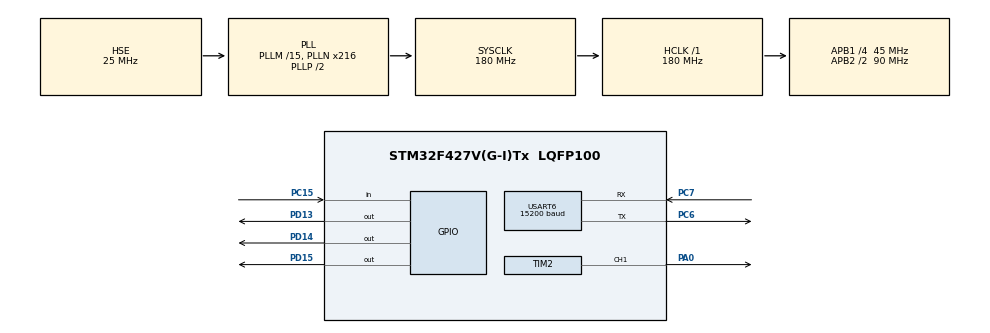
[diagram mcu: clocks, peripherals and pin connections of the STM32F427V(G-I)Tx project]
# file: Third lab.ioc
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Mcu.Family=STM32F4
Mcu.Name=STM32F427V(G-I)Tx
Mcu.Package=LQFP100
NVIC.PriorityGroup=NVIC_PRIORITYGROUP_4
NVIC.TIM6_DAC_IRQn=true\:0\:0\:false\:false\:true\:true\:true\:true
NVIC.USART6_IRQn=true\:0\:0\:false\:false\:true\:true\:true\:true
PA13.Mode=Serial_Wire
PA13.Signal=SYS_JTMS-SWDIO
PA14.Mode=Serial_Wire
PA14.Signal=SYS_JTCK-SWCLK
PC15/OSC32_OUT.Mode=GPIO_Input
PC15/OSC32_OUT.Signal=GPIO_Input
PC6.GPIO_Mode=GPIO_MODE_AF_PP
PC6.GPIO_Pull=GPIO_NOPULL
PC6.Mode=Asynchronous
PC6.Signal=USART6_TX
PC7.GPIO_Mode=GPIO_MODE_AF_PP
PC7.GPIO_Pull=GPIO_PULLUP
PC7.Mode=Asynchronous
PC7.Signal=USART6_RX
PD13.GPIO_Mode=GPIO_MODE_OUTPUT_PP
PD13.GPIO_Pull=GPIO_NOPULL
PD13.GPIO_Speed=GPIO_SPEED_FREQ_LOW
PD13.Signal=GPIO_Output
PD14.GPIO_Mode=GPIO_MODE_OUTPUT_PP
PD14.GPIO_Pull=GPIO_NOPULL
PD14.GPIO_Speed=GPIO_SPEED_FREQ_LOW
PD14.Signal=GPIO_Output
PD15.GPIO_Mode=GPIO_MODE_OUTPUT_PP
PD15.GPIO_Pull=GPIO_NOPULL
PD15.GPIO_Speed=GPIO_SPEED_FREQ_LOW
PD15.Signal=GPIO_Output
PA0-WKUP.GPIO_Mode=GPIO_MODE_AF_PP
PA0-WKUP.GPIO_Pull=GPIO_NOPULL
PA0-WKUP.GPIO_Speed=GPIO_SPEED_FREQ_LOW
PA0-WKUP.Mode=PWM Generation CH1
PA0-WKUP.Signal=TIM2_CH1
PH0/OSC_IN.Mode=HSE-External-Oscillator
PH0/OSC_IN.Signal=RCC_OSC_IN
PH1/OSC_OUT.Mode=HSE-External-Oscillator
PH1/OSC_OUT.Signal=RCC_OSC_OUT
ProjectManager.HeapSize=0x200
ProjectManager.StackSize=0x400
ProjectManager.TargetToolchain=STM32CubeIDE
RCC.48MHZClocksFreq_Value=90000000
RCC.AHBFreq_Value=180000000
RCC.APB1CLKDivider=RCC_HCLK_DIV4
RCC.APB1Freq_Value=45000000
RCC.APB1TimFreq_Value=90000000
RCC.APB2CLKDivider=RCC_HCLK_DIV2
RCC.APB2Freq_Value=90000000
RCC.APB2TimFreq_Value=180000000
RCC.CortexFreq_Value=180000000
RCC.HCLKFreq_Value=180000000
RCC.HSE_VALUE=25000000
RCC.HSI_VALUE=16000000
RCC.LSE_VALUE=32768
RCC.PLLM=15
RCC.PLLN=216
RCC.PLLSourceVirtual=RCC_PLLSOURCE_HSE
RCC.SYSCLKFreq_VALUE=180000000
RCC.SYSCLKSource=RCC_SYSCLKSOURCE_PLLCLK
RCC.VCOOutputFreq_Value=360000000
SH.S_TIM2_CH1.0=TIM2_CH1,PWM Generation CH1
# PWM на PA0 (TIM2_CH1)
TIM2.AutoReloadPreload=TIM_AUTORELOAD_PRELOAD_ENABLE
TIM2.Channel-PWM\ Generation\ CH1=TIM_CHANNEL_1
TIM2.ClockDivision=TIM_CLOCKDIVISION_DIV1
TIM2.CounterMode=TIM_COUNTERMODE_UP
TIM2.OCFastMode=TIM_OCFAST_DISABLE
TIM2.OCPolarity=TIM_OCPOLARITY_HIGH
TIM2.Period=999
TIM2.Prescaler=44
TIM2.Pulse-PWM\ Generation\ CH1=0
TIM6.AutoReloadPreload=TIM_AUTORELOAD_PRELOAD_ENABLE
TIM6.ClockDivision=TIM_CLOCKDIVISION_DIV1
TIM6.CounterMode=TIM_COUNTERMODE_UP
TIM6.Period=999
TIM6.Prescaler=89
USART6.BaudRate=15200
USART6.HardwareFlowControl=USART_HARDWAREFLOWCONTROL_NONE
USART6.Mode=USART_MODE_TX_RX
USART6.OverSampling=USART_OVERSAMPLING_16
USART6.Parity=USART_PARITY_NONE
USART6.StopBits=USART_STOPBITS_1
USART6.WordLength=USART_WORDLENGTH_8B
VP_TIM2_VS_ClockSourceINT.Mode=Internal
VP_TIM6_VS_ClockSourceINT.Mode=Enable_Timer
board=custom

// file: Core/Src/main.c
/* USER CODE BEGIN Header */
/**
  ******************************************************************************
  * @file           : main.c
  * @brief          : Main program body
  ******************************************************************************
  * @attention
  *
  * Copyright (c) 2022 STMicroelectronics.
  * All rights reserved.
  *
  * This software is licensed under terms that can be found in the LICENSE file
  * in the root directory of this software component.
  * If no LICENSE file comes with this software, it is provided AS-IS.
  *
  ******************************************************************************
  */
/* USER CODE END Header */

#include "main.h"
#include "tim.h"
#include "usart.h"
#include "gpio.h"

/* USER CODE BEGIN Includes */
#include <stdio.h>
#include <string.h>
#include <ctype.h>
#include <stdbool.h>
/* USER CODE END Includes */

/* USER CODE BEGIN PTD */
struct RingBuffer {
    char data[256];
    uint16_t head;
    uint16_t tail;
    uint16_t count;
};

typedef struct RingBuffer RingBuffer;
/* USER CODE END PTD */

/* USER CODE BEGIN PD */
#define BUF_SIZE 256

// Ноты (частота в Гц)
#define C4  262
#define D4  294
#define E4  330
#define F4  349
#define G4  392
#define A4  440
#define B4  494
#define C5  523
#define D5  587
#define E5  659
#define F5  698
#define G5  784
#define A5  880
/* USER CODE END PD */

/* USER CODE BEGIN PV */
// Буферы для мелодий
uint32_t custom_track_data[256];
uint32_t custom_track_timing[256];
uint32_t custom_track_length = 0;

// Переменные для воспроизведения
uint32_t current_duration = 0;
bool is_track_playing = false;
uint32_t track_position = 0;
uint32_t *current_track_notes;
uint32_t *current_track_durations;
uint32_t track_notes_count;

// Предопределенные мелодии
uint32_t stairway_melody[] = {
    A4, C5, E5, A5, G5, E5, C5, G5,
    C5, E5, C4, C5, F5, D5, A4, F5
};

uint32_t stairway_delays[] = {
    500, 500, 500, 500, 500, 500, 500, 500,
    500, 500, 500, 500, 500, 500, 500, 500
};

uint32_t ssshhhiiittt_melody[] = {
    E5, D5, C5, D5, C5, 0, B4, 0, C5, 0, B4, C5, D5, 0, B4,
    E5, D5, C5, D5, C5, 0, B4, 0, C5, 0, B4, C5, D5, 0, A4
};

uint32_t ssshhhiiittt_delays[] = {
    400, 400, 400, 400, 400, 70, 400, 70, 400, 70, 400, 300, 400, 100, 400,
    400, 400, 400, 400, 400, 70, 400, 70, 400, 70, 400, 400, 400, 100, 400
};

uint32_t duvet_melody[] = {
    D5, C5, B4, C5, D5, 0, E5, F5, B4, 0,
    D5, C5, B4, C5, D5, 0, E5, 0, F5, E5, 0, F5, E5, 0, E5, D5, C5
};

uint32_t duvet_delays[] = {
    450, 450, 450, 450, 450, 50, 450, 450, 750, 50,
    450, 450, 450, 450, 450, 50, 450, 100, 450, 450, 50, 450, 450, 100, 750, 450, 750
};

uint32_t radiohead_melody[] = {
    F5, A4, D5, A4, F5, A4, D5, A4,
    F5, A4, D5, A4, G4, A4, D5, E5,
    F5, A4, D5, A4, F5, A4, D5, A4,
    F5, A4, D5, A4, G4, A4, D5, E5
};

uint32_t radiohead_delays[] = {
    450, 450, 450, 450, 450, 450, 450, 450,
    450, 450, 450, 450, 450, 450, 450, 450,
    450, 450, 450, 450, 450, 450, 450, 450,
    450, 450, 450, 450, 450, 450, 450, 450
};

// Системные переменные
static RingBuffer rx_buffer;
static uint8_t uart_rx_char;
static bool uart_tx_busy = false;

// Флаги для отладки
static bool system_initialized = false;
static bool uart_ready = false;

/* USER CODE END PV */

void SystemClock_Config(void);
/* USER CODE BEGIN PFP */
// Функции для кольцевого буфера
static void buf_init(RingBuffer *buf);
static bool buf_push(RingBuffer *buf, char c);
static bool buf_pop(RingBuffer *buf, char *c);

// Функции UART
void send_uart(const char *buffer, size_t length);
void send_uart_line(const char *buffer);
void activate_interrupts(void);

// Функции воспроизведения
void start_track_playback(uint32_t *notes_array, uint32_t *timings_array, uint32_t array_length);
uint32_t calculate_arr_for_freq(uint32_t freq_hz);

// Отладочные функции
void debug_led_blink(uint8_t times, uint32_t delay_ms);
void debug_send_status(void);
void test_sound(uint32_t freq_hz, uint32_t duration_ms);
void check_tim_config(void);

// Тестовые функции
void simple_sound_test(void);
/* USER CODE END PFP */

/* USER CODE BEGIN 0 */

// Мигание светодиодом для отладки
void debug_led_blink(uint8_t times, uint32_t delay_ms) {
    for (uint8_t i = 0; i < times; i++) {
        HAL_GPIO_TogglePin(GPIOD, GPIO_PIN_13);
        HAL_Delay(delay_ms);
        HAL_GPIO_TogglePin(GPIOD, GPIO_PIN_13);
        if (i < times - 1) HAL_Delay(delay_ms);
    }
}

// Простой тест звука
void simple_sound_test(void) {
    send_uart_line("=== ПРОСТОЙ ТЕСТ ЗВУКА ===");

    // Тест 1: постоянный сигнал
    send_uart_line("Тест 1: Постоянный сигнал 440 Гц");
    uint32_t arr = calculate_arr_for_freq(440);
    __HAL_TIM_SET_AUTORELOAD(&htim2, arr);
    __HAL_TIM_SET_COMPARE(&htim2, TIM_CHANNEL_1, arr / 2);
    HAL_Delay(1000);
    __HAL_TIM_SET_COMPARE(&htim2, TIM_CHANNEL_1, 0);
    HAL_Delay(200);

    // Тест 2: короткие сигналы
    send_uart_line("Тест 2: Короткие сигналы");
    for (int i = 0; i < 5; i++) {
        arr = calculate_arr_for_freq(440 + i * 100);
        __HAL_TIM_SET_AUTORELOAD(&htim2, arr);
        __HAL_TIM_SET_COMPARE(&htim2, TIM_CHANNEL_1, arr / 2);
        HAL_Delay(100);
        __HAL_TIM_SET_COMPARE(&htim2, TIM_CHANNEL_1, 0);
        HAL_Delay(100);
    }

    // Тест 3: сирена
    send_uart_line("Тест 3: Сирена");
    for (int i = 0; i < 20; i++) {
        arr = calculate_arr_for_freq(300 + i * 20);
        __HAL_TIM_SET_AUTORELOAD(&htim2, arr);
        __HAL_TIM_SET_COMPARE(&htim2, TIM_CHANNEL_1, arr / 2);
        HAL_Delay(50);
    }
    __HAL_TIM_SET_COMPARE(&htim2, TIM_CHANNEL_1, 0);

    send_uart_line("Тест завершен");
}

// Тест одной ноты
void test_sound(uint32_t freq_hz, uint32_t duration_ms) {
    char msg[64];
    snprintf(msg, sizeof(msg), "Тест: %lu Гц, %lu мс", freq_hz, duration_ms);
    send_uart_line(msg);

    uint32_t arr = calculate_arr_for_freq(freq_hz);
    snprintf(msg, sizeof(msg), "ARR: %lu, Prescaler: %lu", arr, htim2.Init.Prescaler);
    send_uart_line(msg);

    if (arr > 0 && arr <= 65535) {
        __HAL_TIM_SET_AUTORELOAD(&htim2, arr);
        __HAL_TIM_SET_COMPARE(&htim2, TIM_CHANNEL_1, arr / 2);
        HAL_Delay(duration_ms);
        __HAL_TIM_SET_COMPARE(&htim2, TIM_CHANNEL_1, 0);
    } else {
        send_uart_line("Ошибка: неверный ARR");
    }
    HAL_Delay(100);
}

// Проверка конфигурации таймеров
void check_tim_config(void) {
    uint32_t tim2_clock = SystemCoreClock / (htim2.Init.Prescaler + 1);
    uint32_t tim6_clock = SystemCoreClock / (htim6.Init.Prescaler + 1);

    char status[256];
    snprintf(status, sizeof(status),
        "\r\n=== КОНФИГУРАЦИЯ ТАЙМЕРОВ ===\r\n"
        "TIM2 (PWM/Звук):\r\n"
        "  Prescaler: %lu\r\n"
        "  Period (ARR): %lu\r\n"
        "  Тактовая частота: %lu Гц\r\n"
        "  Частота PWM: %lu Гц\r\n"
        "TIM6 (Таймер нот):\r\n"
        "  Prescaler: %lu\r\n"
        "  Period: %lu\r\n"
        "  Тактовая частота: %lu Гц\r\n"
        "  Частота прерываний: %lu Гц\r\n",
        htim2.Init.Prescaler,
        htim2.Init.Period,
        tim2_clock,
        tim2_clock / (htim2.Init.Period + 1),
        htim6.Init.Prescaler,
        htim6.Init.Period,
        tim6_clock,
        tim6_clock / (htim6.Init.Period + 1));
    send_uart_line(status);
}

// Отправка статуса системы
void debug_send_status(void) {
    char status_msg[256];
    snprintf(status_msg, sizeof(status_msg),
             "\r\n=== СТАТУС СИСТЕМЫ ===\r\n"
             "System Clock: %lu Hz\r\n"
             "UART BaudRate: %lu\r\n"
             "TIM2 Prescaler: %lu\r\n"
             "TIM2 ARR: %lu\r\n"
             "TIM6 Prescaler: %lu\r\n"
             "TIM6 ARR: %lu\r\n"
             "Трек играет: %s\r\n"
             "Позиция: %lu/%lu\r\n"
             "PD13 (Status LED): %s\r\n",
             SystemCoreClock,
             huart6.Init.BaudRate,
             htim2.Init.Prescaler,
             __HAL_TIM_GET_AUTORELOAD(&htim2),
             htim6.Init.Prescaler,
             __HAL_TIM_GET_AUTORELOAD(&htim6),
             is_track_playing ? "ДА" : "НЕТ",
             track_position,
             track_notes_count,
             HAL_GPIO_ReadPin(GPIOD, GPIO_PIN_13) ? "ON" : "OFF");

    send_uart_line(status_msg);
}

// Инициализация кольцевого буфера
static void buf_init(RingBuffer *buf) {
    buf->head = 0;
    buf->tail = 0;
    buf->count = 0;
    memset(buf->data, 0, sizeof(buf->data));
}

// Добавление символа в буфер
static bool buf_push(RingBuffer *buf, char c) {
    if (buf->count >= BUF_SIZE) {
        return false;
    }
    buf->data[buf->head] = c;
    buf->head = (buf->head + 1) % BUF_SIZE;
    buf->count++;
    return true;
}

// Извлечение символа из буфера
static bool buf_pop(RingBuffer *buf, char *c) {
    if (buf->count == 0) {
        return false;
    }
    *c = buf->data[buf->tail];
    buf->tail = (buf->tail + 1) % BUF_SIZE;
    buf->count--;
    return true;
}

// Отправка данных через UART (с проверкой состояния)
void send_uart(const char *buffer, size_t length) {
    if (!uart_ready || length == 0) {
        return;
    }

    HAL_StatusTypeDef status = HAL_UART_Transmit(&huart6, (uint8_t*)buffer, length, 1000);
    if (status != HAL_OK) {
        HAL_GPIO_WritePin(GPIOD, GPIO_PIN_14, GPIO_PIN_SET);
        HAL_Delay(100);
        HAL_GPIO_WritePin(GPIOD, GPIO_PIN_14, GPIO_PIN_RESET);
    }
}

// Отправка строки с переводом строки
void send_uart_line(const char *buffer) {
    send_uart(buffer, strlen(buffer));
    send_uart("\r\n", 2);
}

// Активация прерываний UART
void activate_interrupts(void) {
    HAL_UART_Receive_IT(&huart6, (uint8_t*)&uart_rx_char, 1);
    uart_ready = true;
}

// Расчет значения ARR для заданной частоты
// Формула: ARR = (SystemCoreClock) / (freq_hz * (Prescaler + 1)) - 1
uint32_t calculate_arr_for_freq(uint32_t freq_hz) {
    if (freq_hz == 0 || freq_hz > 10000) {
        return 0;
    }

    // ТОЧНО как в рабочем коде:
    // SystemCoreClock = 180,000,000 Гц
    // Prescaler = 89 → тактовая частота = 180МГц / (89+1) = 2 МГц
    // ARR = 2,000,000 / freq_hz - 1
    uint32_t arr = 2000000 / freq_hz;
    if (arr > 0) arr--;

    if (arr < 2) arr = 2;
    if (arr > 65535) arr = 65535;

    return arr;
}

// Начало воспроизведения трека
void start_track_playback(uint32_t *notes_array, uint32_t *timings_array, uint32_t array_length) {
    track_position = 0;
    current_track_notes = notes_array;
    current_track_durations = timings_array;
    track_notes_count = array_length;
    is_track_playing = true;
    current_duration = 0;  // Начнем сразу с первой ноты
    send_uart_line("Воспроизведение начато");
}

// Обработчик прерывания UART (прием)
void HAL_UART_RxCpltCallback(UART_HandleTypeDef *huart_instance) {
    if (huart_instance->Instance == USART6) {
        // Индикация получения данных
        HAL_GPIO_TogglePin(GPIOD, GPIO_PIN_15);

        // Сохраняем символ в буфер
        buf_push(&rx_buffer, (char)uart_rx_char);

        // Для отладки: эхо-ответ
        if (!uart_tx_busy) {
            uart_tx_busy = true;
            HAL_UART_Transmit_IT(&huart6, &uart_rx_char, 1);
        }

        // Возобновляем прием
        HAL_UART_Receive_IT(&huart6, (uint8_t*)&uart_rx_char, 1);
    }
}

// Обработчик прерывания UART (передача завершена)
void HAL_UART_TxCpltCallback(UART_HandleTypeDef *huart_instance) {
    if (huart_instance->Instance == USART6) {
        uart_tx_busy = false;
    }
}

// Обработчик прерывания таймера TIM6
void HAL_TIM_PeriodElapsedCallback(TIM_HandleTypeDef *htim) {
    if (htim->Instance == TIM6) {
        if (!is_track_playing) return;

        if (current_duration > 0) {
            current_duration--;
            return;
        }

        if (track_position >= track_notes_count) {
            is_track_playing = false;
            __HAL_TIM_SET_COMPARE(&htim2, TIM_CHANNEL_1, 0);
            return;
        }

        uint32_t note_freq = current_track_notes[track_position];
        uint32_t note_duration = current_track_durations[track_position];

        current_duration = note_duration;

        if (note_freq == 0) {
            __HAL_TIM_SET_COMPARE(&htim2, TIM_CHANNEL_1, 0);
        } else {
            // ПРОСТОЙ РАСЧЕТ КАК В РАБОЧЕМ КОДЕ
            uint32_t arr_value = 2000000 / note_freq - 1;
            if (arr_value > 100 && arr_value < 65535) {
                __HAL_TIM_SET_AUTORELOAD(&htim2, arr_value);
                __HAL_TIM_SET_COMPARE(&htim2, TIM_CHANNEL_1, arr_value / 2);
            } else {
                __HAL_TIM_SET_COMPARE(&htim2, TIM_CHANNEL_1, 0);
            }
        }

        track_position++;
    }
}

/* USER CODE END 0 */

int main(void)
{

  /* MCU Configuration--------------------------------------------------------*/

  /* Reset of all peripherals, Initializes the Flash interface and the Systick. */
  HAL_Init();

  /* Configure the system clock */
  SystemClock_Config();

  /* Initialize all configured peripherals */
  MX_GPIO_Init();
  MX_USART6_UART_Init();
  MX_TIM2_Init();
  MX_TIM6_Init();

  /* USER CODE BEGIN 2 */
  // 1. Простая инициализация
  buf_init(&rx_buffer);
  is_track_playing = false;
  custom_track_length = 0;

  // 2. Светодиоды
  HAL_GPIO_WritePin(GPIOD, GPIO_PIN_13, GPIO_PIN_SET);
  HAL_GPIO_WritePin(GPIOD, GPIO_PIN_14, GPIO_PIN_SET);
  HAL_GPIO_WritePin(GPIOD, GPIO_PIN_15, GPIO_PIN_RESET);
  HAL_Delay(500);
  HAL_GPIO_WritePin(GPIOD, GPIO_PIN_14, GPIO_PIN_RESET);

  // 3. Запуск таймеров КАК В РАБОЧЕМ КОДЕ
  HAL_TIM_PWM_Start(&htim2, TIM_CHANNEL_1);
  HAL_TIM_Base_Start_IT(&htim6);

  // 4. Установите начальное значение PWM в 0
  __HAL_TIM_SET_COMPARE(&htim2, TIM_CHANNEL_1, 0);

  // 5. Активация UART
  HAL_UART_Receive_IT(&huart6, (uint8_t*)&uart_rx_char, 1);
  uart_ready = true;

  // 6. Приветственное сообщение
  HAL_UART_Transmit(&huart6, (uint8_t*)"\r\nМузыкальная шкатулка\r\n", 25, 100);

  // 7. Тестовый звук - КОРОТКИЙ и ПРОСТОЙ
  uint32_t test_arr = (2000000 / 440) - 1;  // 440 Гц
  __HAL_TIM_SET_AUTORELOAD(&htim2, test_arr);
  __HAL_TIM_SET_COMPARE(&htim2, TIM_CHANNEL_1, test_arr / 2);
  HAL_Delay(200);
  __HAL_TIM_SET_COMPARE(&htim2, TIM_CHANNEL_1, 0);

  // 8. Вывод меню
  send_uart_line("Команды: 1-4 мелодии, ? меню");
  /* USER CODE END 2 */

  /* Infinite loop */
  /* USER CODE BEGIN WHILE */
  uint32_t loop_counter = 0;

  while (1)
  {
    loop_counter++;

    // Мигаем основным светодиодом (система работает)
    if (loop_counter % 100 == 0) {
      HAL_GPIO_TogglePin(GPIOD, GPIO_PIN_13);
    }

    // Обрабатываем команды из UART
    char received_char;
    if (buf_pop(&rx_buffer, &received_char)) {

      // Преобразуем в нижний регистр для удобства
      if (received_char >= 'A' && received_char <= 'Z') {
        received_char = received_char + ('a' - 'A');
      }

      // Отладка: что получили
      char debug_rx[32];
      snprintf(debug_rx, sizeof(debug_rx),
               "[CMD] Получено: '%c' (0x%02X)",
               (received_char >= 32 && received_char <= 126) ? received_char : '.',
               received_char);
      send_uart_line(debug_rx);

      // Обрабатываем команду
      switch (received_char) {
        case '1':
          send_uart_line("Воспроизведение: Stairway to Heaven");
          start_track_playback(stairway_melody, stairway_delays,
                             sizeof(stairway_melody) / sizeof(uint32_t));
          break;

        case '2':
          send_uart_line("Воспроизведение: Be Quiet and Drive");
          start_track_playback(ssshhhiiittt_melody, ssshhhiiittt_delays,
                             sizeof(ssshhhiiittt_melody) / sizeof(uint32_t));
          break;

        case '3':
          send_uart_line("Воспроизведение: Duvet");
          start_track_playback(duvet_melody, duvet_delays,
                             sizeof(duvet_melody) / sizeof(uint32_t));
          break;

        case '4':
          send_uart_line("Воспроизведение: No Surprises");
          start_track_playback(radiohead_melody, radiohead_delays,
                             sizeof(radiohead_melody) / sizeof(uint32_t));
          break;

        case '5':
          if (custom_track_length > 0) {
            send_uart_line("Воспроизведение пользовательской мелодии");
            start_track_playback(custom_track_data, custom_track_timing, custom_track_length);
          } else {
            send_uart_line("Пользовательская мелодия не создана!");
            send_uart_line("Используйте команду 'e' для создания мелодии");
          }
          break;

        case 'd':  // Команда отладки
          debug_send_status();
          break;

        case 'c':  // Проверка конфигурации
          check_tim_config();
          break;

        case 't':  // Простой тест звука
          simple_sound_test();
          break;

        case 'T':  // Расширенный тест звука
          send_uart_line("=== РАСШИРЕННЫЙ ТЕСТ ЗВУКА ===");
          test_sound(262, 300);   // C4
          test_sound(330, 300);   // E4
          test_sound(392, 300);   // G4
          test_sound(523, 300);   // C5
          test_sound(659, 300);   // E5
          test_sound(784, 300);   // G5
          test_sound(1047, 300);  // C6
          send_uart_line("Расширенный тест завершен");
          break;

        case 'e': {
          send_uart_line("=== РЕДАКТОР МЕЛОДИЙ ===");
          send_uart_line("Формат: ЧАСТОТА,ДЛИТЕЛЬНОСТЬ");
          send_uart_line("Пример: 440,500 (нота ЛЯ 440Гц на 500мс)");
          send_uart_line("0,500 (пауза 500мс)");
          send_uart_line("Команды:");
          send_uart_line("  s - сохранить мелодию");
          send_uart_line("  q - выйти без сохранения");
          send_uart_line("=========================");

          uint32_t temp_notes[256];
          uint32_t temp_timings[256];
          uint32_t note_count = 0;
          uint32_t current_note = 0;
          uint32_t current_delay = 0;
          bool reading_note = true;
          bool editor_active = true;

          while (editor_active) {
            char input_char;
            if (buf_pop(&rx_buffer, &input_char)) {

              if (input_char == 'q') {
                send_uart_line("Выход из редактора без сохранения");
                editor_active = false;
                break;
              } else if (input_char == 's') {
                if (note_count > 0) {
                  custom_track_length = note_count;
                  for (uint32_t i = 0; i < note_count; i++) {
                    custom_track_data[i] = temp_notes[i];
                    custom_track_timing[i] = temp_timings[i];
                  }
                  char msg[64];
                  snprintf(msg, sizeof(msg), "Мелодия сохранена! Записей: %lu", note_count);
                  send_uart_line(msg);
                } else {
                  send_uart_line("Мелодия пустая! Нечего сохранять.");
                }
                editor_active = false;
                break;
              } else if (input_char == ',') {
                reading_note = false;
              } else if (input_char == '\r' || input_char == '\n') {
                if (note_count < 256) {
                  temp_notes[note_count] = current_note;
                  temp_timings[note_count] = current_delay;
                  note_count++;

                  char note_msg[64];
                  if (current_note == 0) {
                    snprintf(note_msg, sizeof(note_msg),
                            "Добавлена пауза: %lu мс (всего нот: %lu)",
                            current_delay, note_count);
                  } else {
                    snprintf(note_msg, sizeof(note_msg),
                            "Добавлена нота: %lu Гц, %lu мс (всего нот: %lu)",
                            current_note, current_delay, note_count);
                  }
                  send_uart_line(note_msg);

                  current_note = 0;
                  current_delay = 0;
                  reading_note = true;
                }
              } else if (isdigit((unsigned char)input_char)) {
                if (reading_note) {
                  current_note = current_note * 10 + (input_char - '0');
                } else {
                  current_delay = current_delay * 10 + (input_char - '0');
                }
              }
            }
            HAL_Delay(10);
          }

          // Выводим меню после выхода из редактора
          const char menu_after_edit[] =
            "\r\n=== МЕНЮ ===\r\n"
            "1 - Led Zeppelin: Stairway to Heaven\r\n"
            "2 - Deftones: Be Quiet and Drive\r\n"
            "3 - Boa: Duvet\r\n"
            "4 - Radiohead: No Surprises\r\n"
            "5 - Пользовательская мелодия\r\n"
            "e - Редактировать пользовательскую мелодию\r\n"
            "x - Остановить воспроизведение\r\n"
            "t - Тест звука (простой)\r\n"
            "T - Расширенный тест звука\r\n"
            "c - Проверить конфигурацию таймеров\r\n"
            "d - Статус системы\r\n"
            "? - Показать меню\r\n"
            "========================\r\n";

          send_uart_line(menu_after_edit);
          break;
        }

        case 'x':
          send_uart_line("Воспроизведение остановлено");
          is_track_playing = false;
          __HAL_TIM_SET_COMPARE(&htim2, TIM_CHANNEL_1, 0);
          HAL_GPIO_WritePin(GPIOD, GPIO_PIN_15, GPIO_PIN_RESET);
          break;

        case '?': {
          const char help_menu[] =
            "\r\n=== МЕНЮ ===\r\n"
            "1 - Led Zeppelin: Stairway to Heaven\r\n"
            "2 - Deftones: Be Quiet and Drive\r\n"
            "3 - Boa: Duvet\r\n"
            "4 - Radiohead: No Surprises\r\n"
            "5 - Пользовательская мелодия\r\n"
            "e - Редактировать пользовательскую мелодию\r\n"
            "x - Остановить воспроизведение\r\n"
            "t - Тест звука (простой)\r\n"
            "T - Расширенный тест звука\r\n"
            "c - Проверить конфигурацию таймеров\r\n"
            "d - Статус системы\r\n"
            "? - Показать меню\r\n"
            "========================\r\n";
          send_uart_line(help_menu);
          break;
        }

        case '\r':
        case '\n':
          // Игнорируем символы новой строки
          break;

        default:
          // Игнорируем непечатные символы
          if (received_char >= 32 && received_char <= 126) {
            char error_msg[64];
            snprintf(error_msg, sizeof(error_msg),
                    "Неизвестная команда: '%c' (0x%02X)",
                    received_char, received_char);
            send_uart_line(error_msg);
            send_uart_line("Используйте '?' для вывода меню");
          }
          break;
      }
    }

    // Небольшая задержка для стабильности
    HAL_Delay(1);

    /* USER CODE END WHILE */

  }
}

void SystemClock_Config(void)
{
  RCC_OscInitTypeDef RCC_OscInitStruct = {0};
  RCC_ClkInitTypeDef RCC_ClkInitStruct = {0};

  /** Configure the main internal regulator output voltage
  */
  __HAL_RCC_PWR_CLK_ENABLE();
  __HAL_PWR_VOLTAGESCALING_CONFIG(PWR_REGULATOR_VOLTAGE_SCALE1);

  /** Initializes the RCC Oscillators according to the specified parameters
  * in the RCC_OscInitTypeDef structure.
  */
  RCC_OscInitStruct.OscillatorType = RCC_OSCILLATORTYPE_HSE;
  RCC_OscInitStruct.HSEState = RCC_HSE_ON;
  RCC_OscInitStruct.PLL.PLLState = RCC_PLL_ON;
  RCC_OscInitStruct.PLL.PLLSource = RCC_PLLSOURCE_HSE;
  RCC_OscInitStruct.PLL.PLLM = 15;
  RCC_OscInitStruct.PLL.PLLN = 216;
  RCC_OscInitStruct.PLL.PLLP = RCC_PLLP_DIV2;
  RCC_OscInitStruct.PLL.PLLQ = 4;
  if (HAL_RCC_OscConfig(&RCC_OscInitStruct) != HAL_OK)
  {
    Error_Handler();
  }

  /** Activate the Over-Drive mode
  */
  if (HAL_PWREx_EnableOverDrive() != HAL_OK)
  {
    Error_Handler();
  }

  /** Initializes the CPU, AHB and APB buses clocks
  */
  RCC_ClkInitStruct.ClockType = RCC_CLOCKTYPE_HCLK|RCC_CLOCKTYPE_SYSCLK
                              |RCC_CLOCKTYPE_PCLK1|RCC_CLOCKTYPE_PCLK2;
  RCC_ClkInitStruct.SYSCLKSource = RCC_SYSCLKSOURCE_PLLCLK;
  RCC_ClkInitStruct.AHBCLKDivider = RCC_SYSCLK_DIV1;
  RCC_ClkInitStruct.APB1CLKDivider = RCC_HCLK_DIV4;
  RCC_ClkInitStruct.APB2CLKDivider = RCC_HCLK_DIV2;

  if (HAL_RCC_ClockConfig(&RCC_ClkInitStruct, FLASH_LATENCY_5) != HAL_OK)
  {
    Error_Handler();
  }
}

void Error_Handler(void)
{
  /* USER CODE BEGIN Error_Handler_Debug */
  /* User can add his own implementation to report the HAL error return state */
  __disable_irq();

  // Индикация ошибки - быстрые вспышки светодиода
  while (1)
  {
    // 5 быстрых вспышек = ошибка
    for (int i = 0; i < 5; i++) {
      HAL_GPIO_WritePin(GPIOD, GPIO_PIN_13, GPIO_PIN_SET);
      HAL_Delay(100);
      HAL_GPIO_WritePin(GPIOD, GPIO_PIN_13, GPIO_PIN_RESET);
      HAL_Delay(100);
    }
    HAL_Delay(1000);
  }
  /* USER CODE END Error_Handler_Debug */
}
